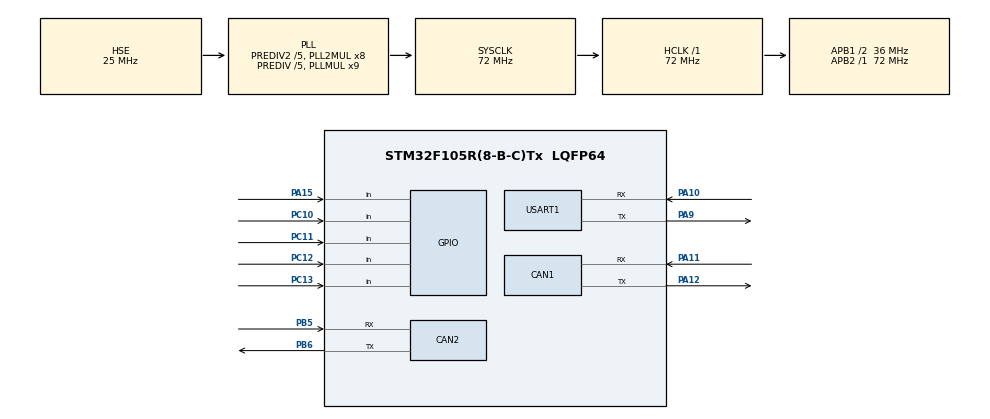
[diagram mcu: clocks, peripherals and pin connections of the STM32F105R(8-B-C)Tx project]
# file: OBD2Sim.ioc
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CAN1.BS1=CAN_BS1_1TQ
CAN1.BS2=CAN_BS2_1TQ
CAN1.CalculateTimeBit=1333
CAN1.CalculateTimeQuantum=444.44444444444446
CAN2.BS1=CAN_BS1_1TQ
CAN2.BS2=CAN_BS2_1TQ
CAN2.CalculateTimeBit=1333
CAN2.CalculateTimeQuantum=444.44444444444446
Mcu.Family=STM32F1
Mcu.Name=STM32F105R(8-B-C)Tx
Mcu.Package=LQFP64
NVIC.PriorityGroup=NVIC_PRIORITYGROUP_4
PA10.Mode=Asynchronous
PA10.Signal=USART1_RX
PA11.Mode=Master
PA11.Signal=CAN1_RX
PA12.Mode=Master
PA12.Signal=CAN1_TX
PA13.Mode=Serial_Wire
PA13.Signal=SYS_JTMS-SWDIO
PA14.Mode=Serial_Wire
PA14.Signal=SYS_JTCK-SWCLK
PA15.Signal=GPIO_Input
PA9.Mode=Asynchronous
PA9.Signal=USART1_TX
PB5.Mode=Slave
PB5.Signal=CAN2_RX
PB6.Mode=Slave
PB6.Signal=CAN2_TX
PC10.Signal=GPIO_Input
PC11.Signal=GPIO_Input
PC12.Signal=GPIO_Input
PC13-TAMPER-RTC.Signal=GPIO_Input
PD0-OSC_IN.Mode=HSE-External-Oscillator
PD0-OSC_IN.Signal=RCC_OSC_IN
PD1-OSC_OUT.Mode=HSE-External-Oscillator
PD1-OSC_OUT.Signal=RCC_OSC_OUT
ProjectManager.HeapSize=0x200
ProjectManager.StackSize=0x400
ProjectManager.TargetToolchain=STM32CubeIDE
RCC.AHBFreq_Value=72000000
RCC.APB1CLKDivider=RCC_HCLK_DIV2
RCC.APB1Freq_Value=36000000
RCC.APB1TimFreq_Value=72000000
RCC.APB2Freq_Value=72000000
RCC.APB2TimFreq_Value=72000000
RCC.HCLKFreq_Value=72000000
RCC.HSEDivPLL=RCC_HSE_PREDIV_DIV5
RCC.HSE_VALUE=25000000
RCC.PLLMUL=RCC_PLL_MUL9
RCC.PLLSourceVirtual=RCC_PLLSOURCE_HSE
RCC.Prediv1Source=RCC_PREDIV1_SOURCE_PLL2
RCC.Prediv2=RCC_HSE_PREDIV2_DIV5
RCC.SYSCLKFreq_VALUE=72000000
RCC.SYSCLKSource=RCC_SYSCLKSOURCE_PLLCLK
RCC.USBFreq_Value=48000000
USART1.VirtualMode=VM_ASYNC
board=custom

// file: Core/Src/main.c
/* USER CODE BEGIN Header */
/**
  ******************************************************************************
  * @file           : main.c
  * @brief          : Main program body
  ******************************************************************************
  * @attention
  *
  * <h2><center>&copy; Copyright (c) 2022 STMicroelectronics.
  * All rights reserved.</center></h2>
  *
  * This software component is licensed by ST under BSD 3-Clause license,
  * the "License"; You may not use this file except in compliance with the
  * License. You may obtain a copy of the License at:
  *                        opensource.org/licenses/BSD-3-Clause
  *
  ******************************************************************************
  */
/* USER CODE END Header */

#include "main.h"

/* USER CODE BEGIN Includes */
#include "app_strings.h"
/* USER CODE END Includes */

CAN_HandleTypeDef hcan1;
CAN_HandleTypeDef hcan2;

UART_HandleTypeDef huart1;

void SystemClock_Config(void);
static void MX_GPIO_Init(void);
static void MX_CAN1_Init(void);
static void MX_CAN2_Init(void);
static void MX_USART1_UART_Init(void);

int main(void)
{

  /* MCU Configuration--------------------------------------------------------*/

  /* Reset of all peripherals, Initializes the Flash interface and the Systick. */
  HAL_Init();

  /* Configure the system clock */
  SystemClock_Config();

  /* Initialize all configured peripherals */
  MX_GPIO_Init();
  MX_CAN1_Init();
  MX_CAN2_Init();
  MX_USART1_UART_Init();
  /* USER CODE BEGIN 2 */
  	CAN_RxHeaderTypeDef canRHeader;
  	CAN_TxHeaderTypeDef canTxHeader;
  	uint8_t	canRxBuffer[8] = {0};
  	CAN_FilterTypeDef canFilter;
  	uint32_t	canMailbox;

  	canFilter.FilterBank = 0;
  	canFilter.FilterMode = CAN_FILTERMODE_IDMASK;
  	canFilter.FilterFIFOAssignment = CAN_RX_FIFO0;
  	canFilter.FilterIdHigh = 0;
  	canFilter.FilterIdLow = 0;
  	canFilter.FilterMaskIdHigh = 0;
  	canFilter.FilterMaskIdLow = 0;
  	canFilter.FilterScale = CAN_FILTERSCALE_32BIT;
  	canFilter.FilterActivation = DISABLE;
  	canFilter.SlaveStartFilterBank = 14;

  	HAL_CAN_ConfigFilter(&hcan1, &canFilter);
  	HAL_CAN_Start(&hcan1);
  	HAL_CAN_ActivateNotification(&hcan1, CAN_IT_RX_FIFO0_MSG_PENDING);

  	HAL_CAN_

  /* USER CODE END 2 */

  /* Infinite loop */
  while (1)
  {
  }
}

void SystemClock_Config(void)
{
  RCC_OscInitTypeDef RCC_OscInitStruct = {0};
  RCC_ClkInitTypeDef RCC_ClkInitStruct = {0};

  /** Initializes the CPU, AHB and APB busses clocks
  */
  RCC_OscInitStruct.OscillatorType = RCC_OSCILLATORTYPE_HSE;
  RCC_OscInitStruct.HSEState = RCC_HSE_ON;
  RCC_OscInitStruct.HSEPredivValue = RCC_HSE_PREDIV_DIV5;
  RCC_OscInitStruct.HSIState = RCC_HSI_ON;
  RCC_OscInitStruct.Prediv1Source = RCC_PREDIV1_SOURCE_PLL2;
  RCC_OscInitStruct.PLL.PLLState = RCC_PLL_ON;
  RCC_OscInitStruct.PLL.PLLSource = RCC_PLLSOURCE_HSE;
  RCC_OscInitStruct.PLL.PLLMUL = RCC_PLL_MUL9;
  RCC_OscInitStruct.PLL2.PLL2State = RCC_PLL2_ON;
  RCC_OscInitStruct.PLL2.PLL2MUL = RCC_PLL2_MUL8;
  RCC_OscInitStruct.PLL2.HSEPrediv2Value = RCC_HSE_PREDIV2_DIV5;
  if (HAL_RCC_OscConfig(&RCC_OscInitStruct) != HAL_OK)
  {
    Error_Handler();
  }
  /** Initializes the CPU, AHB and APB busses clocks
  */
  RCC_ClkInitStruct.ClockType = RCC_CLOCKTYPE_HCLK|RCC_CLOCKTYPE_SYSCLK
                              |RCC_CLOCKTYPE_PCLK1|RCC_CLOCKTYPE_PCLK2;
  RCC_ClkInitStruct.SYSCLKSource = RCC_SYSCLKSOURCE_PLLCLK;
  RCC_ClkInitStruct.AHBCLKDivider = RCC_SYSCLK_DIV1;
  RCC_ClkInitStruct.APB1CLKDivider = RCC_HCLK_DIV2;
  RCC_ClkInitStruct.APB2CLKDivider = RCC_HCLK_DIV1;

  if (HAL_RCC_ClockConfig(&RCC_ClkInitStruct, FLASH_LATENCY_2) != HAL_OK)
  {
    Error_Handler();
  }
  /** Configure the Systick interrupt time
  */
  __HAL_RCC_PLLI2S_ENABLE();
}

static void MX_CAN1_Init(void)
{

  hcan1.Instance = CAN1;
  hcan1.Init.Prescaler = 16;
  hcan1.Init.Mode = CAN_MODE_NORMAL;
  hcan1.Init.SyncJumpWidth = CAN_SJW_1TQ;
  hcan1.Init.TimeSeg1 = CAN_BS1_1TQ;
  hcan1.Init.TimeSeg2 = CAN_BS2_1TQ;
  hcan1.Init.TimeTriggeredMode = DISABLE;
  hcan1.Init.AutoBusOff = DISABLE;
  hcan1.Init.AutoWakeUp = DISABLE;
  hcan1.Init.AutoRetransmission = DISABLE;
  hcan1.Init.ReceiveFifoLocked = DISABLE;
  hcan1.Init.TransmitFifoPriority = DISABLE;
  if (HAL_CAN_Init(&hcan1) != HAL_OK)
  {
    Error_Handler();
  }

}

static void MX_CAN2_Init(void)
{

  hcan2.Instance = CAN2;
  hcan2.Init.Prescaler = 16;
  hcan2.Init.Mode = CAN_MODE_NORMAL;
  hcan2.Init.SyncJumpWidth = CAN_SJW_1TQ;
  hcan2.Init.TimeSeg1 = CAN_BS1_1TQ;
  hcan2.Init.TimeSeg2 = CAN_BS2_1TQ;
  hcan2.Init.TimeTriggeredMode = DISABLE;
  hcan2.Init.AutoBusOff = DISABLE;
  hcan2.Init.AutoWakeUp = DISABLE;
  hcan2.Init.AutoRetransmission = DISABLE;
  hcan2.Init.ReceiveFifoLocked = DISABLE;
  hcan2.Init.TransmitFifoPriority = DISABLE;
  if (HAL_CAN_Init(&hcan2) != HAL_OK)
  {
    Error_Handler();
  }

}

static void MX_USART1_UART_Init(void)
{

  huart1.Instance = USART1;
  huart1.Init.BaudRate = 115200;
  huart1.Init.WordLength = UART_WORDLENGTH_8B;
  huart1.Init.StopBits = UART_STOPBITS_1;
  huart1.Init.Parity = UART_PARITY_NONE;
  huart1.Init.Mode = UART_MODE_TX_RX;
  huart1.Init.HwFlowCtl = UART_HWCONTROL_NONE;
  huart1.Init.OverSampling = UART_OVERSAMPLING_16;
  if (HAL_UART_Init(&huart1) != HAL_OK)
  {
    Error_Handler();
  }

}

static void MX_GPIO_Init(void)
{
  GPIO_InitTypeDef GPIO_InitStruct = {0};

  /* GPIO Ports Clock Enable */
  __HAL_RCC_GPIOC_CLK_ENABLE();
  __HAL_RCC_GPIOD_CLK_ENABLE();
  __HAL_RCC_GPIOA_CLK_ENABLE();
  __HAL_RCC_GPIOB_CLK_ENABLE();

  /*Configure GPIO pins : PC13 PC10 PC11 PC12 */
  GPIO_InitStruct.Pin = GPIO_PIN_13|GPIO_PIN_10|GPIO_PIN_11|GPIO_PIN_12;
  GPIO_InitStruct.Mode = GPIO_MODE_INPUT;
  GPIO_InitStruct.Pull = GPIO_NOPULL;
  HAL_GPIO_Init(GPIOC, &GPIO_InitStruct);

  /*Configure GPIO pin : PA15 */
  GPIO_InitStruct.Pin = GPIO_PIN_15;
  GPIO_InitStruct.Mode = GPIO_MODE_INPUT;
  GPIO_InitStruct.Pull = GPIO_NOPULL;
  HAL_GPIO_Init(GPIOA, &GPIO_InitStruct);

}

void Error_Handler(void)
{
}

/************************ (C) COPYRIGHT STMicroelectronics *****END OF FILE****/
